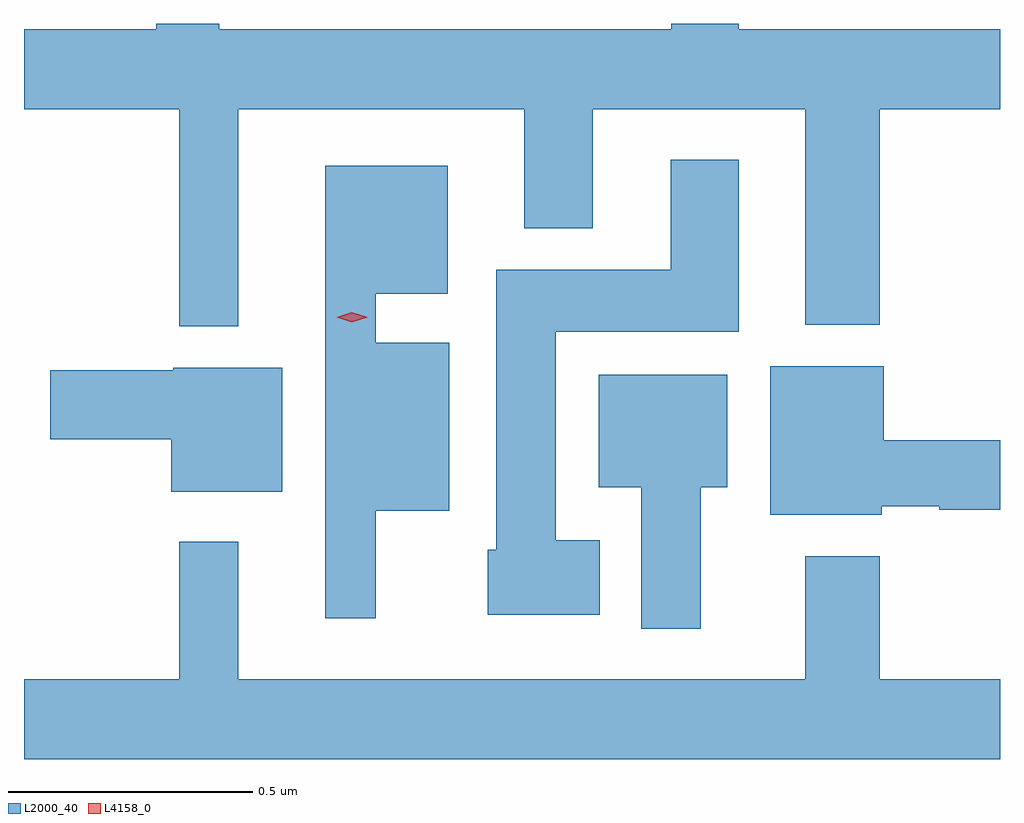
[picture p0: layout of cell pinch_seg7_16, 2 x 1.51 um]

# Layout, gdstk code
import gdstk
lib = gdstk.Library(unit=1e-6, precision=1e-09)
def P(c, l, *ps):  # polygons
    for p in ps: c.add(gdstk.Polygon(p, *l))
L2000_40 = (2000, 40)
L4158_0 = (4158, 0)

pinch_seg7_16 = lib.new_cell('pinch_seg7_16')
P(pinch_seg7_16, L2000_40, [(1025.932,1052.74),(1025.803,1052.74),(1025.803,1052.728),(1025.532,1052.728),(1025.532,1052.564),(1025.85,1052.564),(1025.85,1052.12),(1025.971,1052.12),(1025.971,1052.564),(1026.557,1052.564),(1026.557,1052.321),(1026.697,1052.321),(1026.697,1052.564),(1027.133,1052.564),(1027.133,1052.123),(1027.286,1052.123),(1027.286,1052.564),(1027.532,1052.564),(1027.532,1052.728),(1026.997,1052.728),(1026.997,1052.74),(1026.858,1052.74),(1026.858,1052.728),(1025.932,1052.728)],
  [(1026.712,1051.681),(1026.622,1051.681),(1026.622,1052.108),(1026.997,1052.108),(1026.997,1052.461),(1026.857,1052.461),(1026.857,1052.236),(1026.5,1052.236),(1026.5,1051.662),(1026.482,1051.662),(1026.482,1051.529),(1026.712,1051.529)],
  [(1026.253,1051.742),(1026.403,1051.742),(1026.403,1052.086),(1026.253,1052.086),(1026.253,1052.186),(1026.4,1052.186),(1026.4,1052.449),(1026.149,1052.449),(1026.149,1051.521),(1026.253,1051.521)],
  [(1027.29,1051.751),(1027.407,1051.751),(1027.407,1051.744),(1027.532,1051.744),(1027.532,1051.886),(1027.294,1051.886),(1027.294,1052.038),(1027.061,1052.038),(1027.061,1051.733),(1027.29,1051.733)],
  [(1026.061,1052.035),(1025.838,1052.035),(1025.838,1052.03),(1025.586,1052.03),(1025.586,1051.888),(1025.834,1051.888),(1025.834,1051.781),(1026.061,1051.781)],
  [(1026.919,1051.79),(1026.973,1051.79),(1026.973,1052.02),(1026.71,1052.02),(1026.71,1051.79),(1026.797,1051.79),(1026.797,1051.5),(1026.919,1051.5)],
  [(1027.532,1051.396),(1027.286,1051.396),(1027.286,1051.648),(1027.133,1051.648),(1027.133,1051.396),(1025.971,1051.396),(1025.971,1051.678),(1025.85,1051.678),(1025.85,1051.396),(1025.532,1051.396),(1025.532,1051.232),(1027.532,1051.232)])
P(pinch_seg7_16, L4158_0, [(1026.204,1052.128),(1026.173,1052.138),(1026.173,1052.138),(1026.173,1052.138),(1026.204,1052.148),(1026.236,1052.138),(1026.236,1052.138),(1026.236,1052.138)])

lib.write_gds('pinch_seg7_16.gds')
